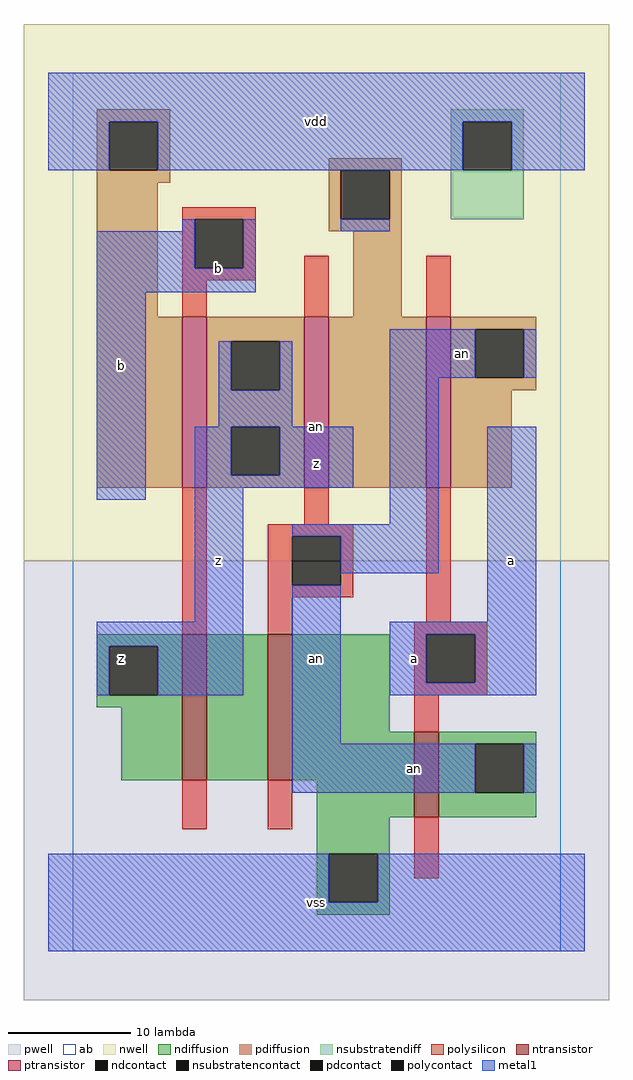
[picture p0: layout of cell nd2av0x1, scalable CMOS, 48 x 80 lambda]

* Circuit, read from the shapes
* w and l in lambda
.subckt nd2av0x1 a an b vdd vss z
M1 n1 b z VSUBS nfet w=12 l=2
M2 vss an n1 VSUBS nfet w=12 l=2
M3 an a vss VSUBS nfet w=7 l=2
M4 z b vdd vdd pfet w=14 l=2
M5 vdd an z vdd pfet w=14 l=2
M6 an a vdd vdd pfet w=14 l=2
.ends

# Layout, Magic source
magic
tech scmos
<< ab >>
rect 0 0 40 72
<< pwell >>
rect -4 -4 44 32
<< nwell >>
rect -4 32 44 76
<< polysilicon >>
rect 9 60 15 61
rect 9 56 10 60
rect 14 56 15 60
rect 9 55 15 56
rect 9 52 11 55
rect 19 52 21 57
rect 29 52 31 57
rect 9 26 11 38
rect 19 35 21 38
rect 16 34 23 35
rect 16 30 18 34
rect 22 30 23 34
rect 16 29 23 30
rect 16 26 18 29
rect 29 27 31 38
rect 28 26 34 27
rect 28 22 29 26
rect 33 22 34 26
rect 28 21 34 22
rect 28 18 30 21
rect 9 10 11 14
rect 16 10 18 14
rect 28 6 30 11
<< ndiffusion >>
rect 2 25 9 26
rect 2 21 3 25
rect 7 21 9 25
rect 2 20 9 21
rect 4 14 9 20
rect 11 14 16 26
rect 18 18 26 26
rect 18 14 28 18
rect 20 11 28 14
rect 30 17 38 18
rect 30 13 33 17
rect 37 13 38 17
rect 30 11 38 13
rect 20 8 26 11
rect 20 4 21 8
rect 25 4 26 8
rect 20 3 26 4
<< pdiffusion >>
rect 2 68 8 69
rect 2 64 3 68
rect 7 64 8 68
rect 2 63 8 64
rect 21 64 27 65
rect 2 52 7 63
rect 21 60 22 64
rect 26 60 27 64
rect 21 59 27 60
rect 23 52 27 59
rect 2 38 9 52
rect 11 50 19 52
rect 11 46 13 50
rect 17 46 19 50
rect 11 43 19 46
rect 11 39 13 43
rect 17 39 19 43
rect 11 38 19 39
rect 21 38 29 52
rect 31 51 38 52
rect 31 47 33 51
rect 37 47 38 51
rect 31 46 38 47
rect 31 38 36 46
<< metal1 >>
rect -2 68 42 72
rect -2 64 3 68
rect 7 64 32 68
rect 36 64 42 68
rect 9 59 10 60
rect 2 56 10 59
rect 14 56 15 60
rect 22 59 26 60
rect 2 54 15 56
rect 2 37 6 54
rect 12 46 13 50
rect 17 46 18 50
rect 12 43 18 46
rect 26 47 33 51
rect 37 47 38 51
rect 10 39 13 43
rect 17 39 23 43
rect 10 38 23 39
rect 10 27 14 38
rect 26 35 30 47
rect 2 25 14 27
rect 2 21 3 25
rect 7 21 14 25
rect 18 34 30 35
rect 22 31 30 34
rect 18 17 22 30
rect 34 27 38 43
rect 26 26 38 27
rect 26 22 29 26
rect 33 22 38 26
rect 26 21 38 22
rect 18 13 33 17
rect 37 13 38 17
rect -2 4 21 8
rect 25 4 42 8
rect -2 0 42 4
<< ntransistor >>
rect 9 14 11 26
rect 16 14 18 26
rect 28 11 30 18
<< ptransistor >>
rect 9 38 11 52
rect 19 38 21 52
rect 29 38 31 52
<< polycontact >>
rect 10 56 14 60
rect 18 30 22 34
rect 29 22 33 26
<< ndcontact >>
rect 3 21 7 25
rect 33 13 37 17
rect 21 4 25 8
<< pdcontact >>
rect 3 64 7 68
rect 22 60 26 64
rect 13 46 17 50
rect 13 39 17 43
rect 33 47 37 51
<< nsubstratencontact >>
rect 32 64 36 68
<< nsubstratendiff >>
rect 31 68 37 69
rect 31 64 32 68
rect 36 64 37 68
rect 31 60 37 64
<< labels >>
rlabel ptransistor 20 43 20 43 6 an
rlabel ndcontact 4 24 4 24 6 z
rlabel metal1 4 48 4 48 6 b
rlabel metal1 12 32 12 32 6 z
rlabel metal1 12 56 12 56 6 b
rlabel metal1 20 4 20 4 6 vss
rlabel metal1 20 24 20 24 6 an
rlabel metal1 28 24 28 24 6 a
rlabel metal1 20 40 20 40 6 z
rlabel metal1 20 68 20 68 6 vdd
rlabel metal1 28 15 28 15 6 an
rlabel metal1 36 32 36 32 6 a
rlabel metal1 32 49 32 49 6 an
<< end >>
